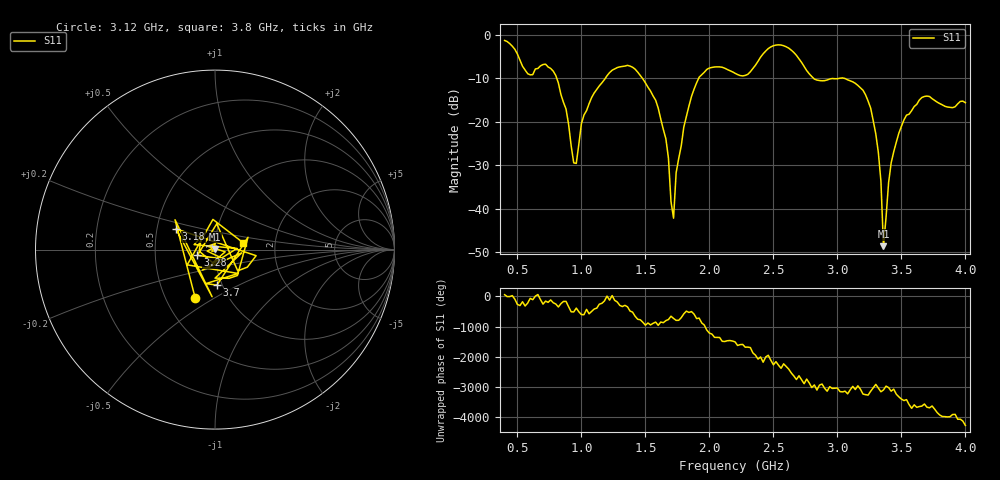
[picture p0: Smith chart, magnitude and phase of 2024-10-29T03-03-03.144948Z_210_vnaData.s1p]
!Created with skrf (http://scikit-rf.org).
# Hz S RI R 50.0
!freq ReS11 ImS11
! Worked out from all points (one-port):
!   181 points, 400 MHz to 4 GHz, reference 50 ohm
!   lowest |S11| = -48.7 dB at 3.36 GHz (marker M1), VSWR 1.01, Z = 49.8 + j0.287 ohm
!   |S11| at or under -10 dB: 808 MHz to 1.186 GHz (377.8 MHz wide, 37.9 % of centre); 1.478 GHz to 1.915 GHz (437.6 MHz wide, 25.8 % of centre); 3.059 GHz to end of sweep (the widest 3 of 4)
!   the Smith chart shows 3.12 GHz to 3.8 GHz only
!   S11 on the Smith chart (normalised r, x): 3.12 GHz: 0.70, -0.41; 3.18 GHz: 0.63, +0.15; 3.28 GHz: 0.82, -0.05; 3.7 GHz: 0.94, -0.39; 3.8 GHz: 1.37, +0.10
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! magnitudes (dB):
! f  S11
! 400 MHz  -1.2
! 580 MHz  -8.9
! 780 MHz  -8.3
! 860 MHz  -15.5
! 960 MHz  -29.6
! 1 GHz  -20.4
! 1.08 GHz  -14.4
! 1.3 GHz  -7.3
! 1.58 GHz  -15.0
! 1.66 GHz  -23.9
! 1.72 GHz  -42.2
! 1.74 GHz  -31.8
! 1.76 GHz  -28.5
! 1.92 GHz  -9.7
! 2.2 GHz  -8.8
! 2.66 GHz  -4.0
! 2.82 GHz  -10.1
! 3.1 GHz  -10.5
! 3.12 GHz  -10.8
! 3.18 GHz  -12.2
! 3.28 GHz  -19.7
! 3.34 GHz  -33.7
! 3.36 GHz  -48.7
! 3.42 GHz  -29.5
! 3.56 GHz  -18.2
! 3.7 GHz  -14.1
! 3.8 GHz  -15.8
! 4 GHz  -15.6
